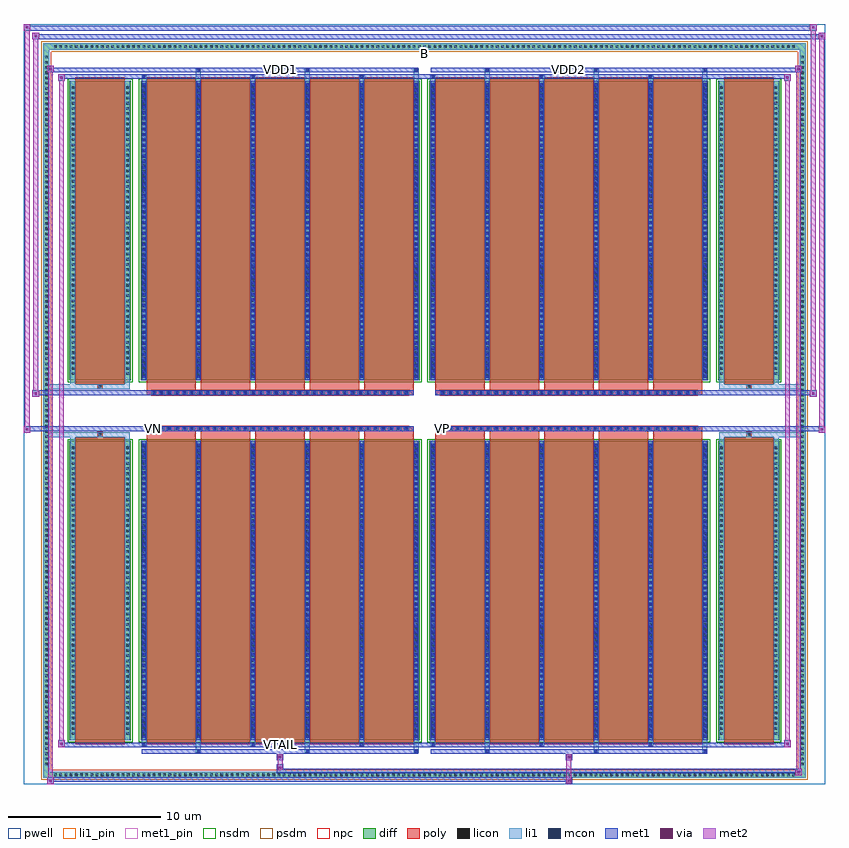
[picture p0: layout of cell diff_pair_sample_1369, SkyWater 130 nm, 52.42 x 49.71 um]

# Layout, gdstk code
import gdstk
lib = gdstk.Library(unit=1e-6, precision=5e-09)
def R(c, l, rs):  # rectangles x0, y0, x1, y1
    for r in rs: c.add(gdstk.rectangle(r[:2], r[2:], *l))
def A(c, l, x, y, w, h, nx, ny, dx, dy):  # array of equal rectangles
    R(c, l, [(x+i*dx, y+j*dy, x+i*dx+w, y+j*dy+h) for i in range(nx) for j in range(ny)])
def P(c, l, *ps):  # polygons
    for p in ps: c.add(gdstk.Polygon(p, *l))
pwell = (64, 44)
diff = (65, 20)
poly = (66, 20)
licon = (66, 44)
li1_pin = (67, 16)
li1 = (67, 20)
mcon = (67, 44)
met1_pin = (68, 16)
met1 = (68, 20)
via = (68, 44)
met2 = (69, 20)
nsdm = (93, 44)
psdm = (94, 20)
npc = (95, 20)

diff_pair_sample_1369 = lib.new_cell('diff_pair_sample_1369')
R(diff_pair_sample_1369, pwell, [(-26.21,-24.42,26.21,25.29), (-23.53,-22.61,-0.01,-0.805), (0.01,-22.61,23.53,-0.805), (-23.53,0.805,-0.01,22.61), (0.01,0.805,23.53,22.61)])
A(diff_pair_sample_1369, diff, -24.345, -24.02, 0.41, 0.41, 143, 2, 0.34, 47.63)
A(diff_pair_sample_1369, diff, -24.94, -23.325, 0.41, 0.41, 1, 137, 0, 0.34)
A(diff_pair_sample_1369, diff, 24.53, -23.325, 0.41, 0.41, 1, 137, 0, 0.34)
R(diff_pair_sample_1369, diff, [(-24.345,-24.02,24.345,-23.61), (-24.94,-23.325,-24.53,23.325), (24.53,-23.325,24.94,23.325), (-23.22,-21.565,-19.21,-1.985), (-18.57,-21.565,-0.32,-1.985), (0.32,-21.565,18.57,-1.985), (19.21,-21.565,23.22,-1.985), (-23.22,1.985,-19.21,21.565), (-18.57,1.985,-0.32,21.565), (0.32,1.985,18.57,21.565), (19.21,1.985,23.22,21.565), (-24.345,23.61,24.345,24.02)])
P(diff_pair_sample_1369, diff, [(24.94,24.02),(-24.94,24.02),(-24.94,-23.61),(-24.53,-23.61),(-24.53,23.61),(24.53,23.61),(24.53,-23.61),(-24.53,-23.61),(-24.94,-23.61),(-24.94,-24.02),(24.94,-24.02)])
A(diff_pair_sample_1369, poly, -18.18, -21.815, 3.23, 20.08, 5, 2, 3.56, 23.55)
A(diff_pair_sample_1369, poly, 0.71, -21.815, 3.23, 20.08, 5, 2, 3.56, 23.55)
A(diff_pair_sample_1369, poly, -18.18, -1.735, 3.23, 0.4, 5, 2, 3.56, 3.07)
A(diff_pair_sample_1369, poly, 0.71, -1.735, 3.23, 0.4, 5, 2, 3.56, 3.07)
A(diff_pair_sample_1369, poly, -17.86, -1.335, 0.33, 0.33, 34, 2, 0.5, 2.34)
A(diff_pair_sample_1369, poly, 1.03, -1.335, 0.33, 0.33, 34, 2, 0.5, 2.34)
R(diff_pair_sample_1369, poly, [(-22.83,-21.815,-19.6,-1.735), (19.6,-21.815,22.83,-1.735), (-21.38,-1.735,-21.05,-1.405), (-21.38,-1.735,-21.05,-1.405), (21.05,-1.735,21.38,-1.405), (21.05,-1.735,21.38,-1.405), (-18.18,-1.335,-0.71,-1.005), (0.71,-1.335,18.18,-1.005), (-18.18,1.005,-0.71,1.335), (0.71,1.005,18.18,1.335), (-21.38,1.405,-21.05,1.735), (-21.38,1.405,-21.05,1.735), (21.05,1.405,21.38,1.735), (21.05,1.405,21.38,1.735), (-22.83,1.735,-19.6,21.815), (19.6,1.735,22.83,21.815)])
A(diff_pair_sample_1369, licon, -24.225, -23.9, 0.17, 0.17, 143, 2, 0.34, 47.63)
A(diff_pair_sample_1369, licon, -24.82, -23.205, 0.17, 0.17, 1, 137, 0, 0.34)
A(diff_pair_sample_1369, licon, 24.65, -23.205, 0.17, 0.17, 1, 137, 0, 0.34)
A(diff_pair_sample_1369, licon, -23.08, -21.21, 0.17, 0.17, 1, 56, 0, 0.34)
A(diff_pair_sample_1369, licon, -19.52, -21.21, 0.17, 0.17, 1, 56, 0, 0.34)
A(diff_pair_sample_1369, licon, -18.43, -21.21, 0.17, 0.17, 6, 56, 3.56, 0.34)
A(diff_pair_sample_1369, licon, 0.46, -21.21, 0.17, 0.17, 6, 56, 3.56, 0.34)
A(diff_pair_sample_1369, licon, 19.35, -21.21, 0.17, 0.17, 1, 56, 0, 0.34)
A(diff_pair_sample_1369, licon, 22.91, -21.21, 0.17, 0.17, 1, 56, 0, 0.34)
A(diff_pair_sample_1369, licon, -17.78, -1.255, 0.17, 0.17, 34, 2, 0.5, 2.34)
A(diff_pair_sample_1369, licon, 1.11, -1.255, 0.17, 0.17, 34, 2, 0.5, 2.34)
A(diff_pair_sample_1369, licon, -23.08, 2.34, 0.17, 0.17, 1, 56, 0, 0.34)
A(diff_pair_sample_1369, licon, -19.52, 2.34, 0.17, 0.17, 1, 56, 0, 0.34)
A(diff_pair_sample_1369, licon, -18.43, 2.34, 0.17, 0.17, 6, 56, 3.56, 0.34)
A(diff_pair_sample_1369, licon, 0.46, 2.34, 0.17, 0.17, 6, 56, 3.56, 0.34)
A(diff_pair_sample_1369, licon, 19.35, 2.34, 0.17, 0.17, 1, 56, 0, 0.34)
A(diff_pair_sample_1369, licon, 22.91, 2.34, 0.17, 0.17, 1, 56, 0, 0.34)
R(diff_pair_sample_1369, licon, [(-21.3,-1.655,-21.13,-1.485), (21.13,-1.655,21.3,-1.485), (-21.3,1.485,-21.13,1.655), (21.13,1.485,21.3,1.655)])
R(diff_pair_sample_1369, li1_pin, [(-0.25,23.11,0.25,23.61)])
A(diff_pair_sample_1369, li1, -24.305, -23.98, 0.33, 0.33, 143, 2, 0.34, 47.63)
A(diff_pair_sample_1369, li1, -24.9, -23.285, 0.33, 0.33, 1, 137, 0, 0.34)
A(diff_pair_sample_1369, li1, 24.57, -23.285, 0.33, 0.33, 1, 137, 0, 0.34)
A(diff_pair_sample_1369, li1, -14.95, -22.37, 0.33, 0.805, 3, 2, 7.12, 43.935)
A(diff_pair_sample_1369, li1, -14.87, -22.37, 0.17, 0.17, 3, 2, 7.12, 44.57)
A(diff_pair_sample_1369, li1, 3.94, -22.37, 0.33, 0.805, 3, 2, 7.12, 43.935)
A(diff_pair_sample_1369, li1, 4.02, -22.37, 0.17, 0.17, 3, 2, 7.12, 44.57)
A(diff_pair_sample_1369, li1, -18.51, -21.94, 0.33, 0.375, 3, 2, 7.12, 43.505)
A(diff_pair_sample_1369, li1, -18.43, -21.94, 0.17, 0.17, 3, 2, 7.12, 43.71)
A(diff_pair_sample_1369, li1, 0.38, -21.94, 0.33, 0.375, 3, 2, 7.12, 43.505)
A(diff_pair_sample_1369, li1, 0.46, -21.94, 0.17, 0.17, 3, 2, 7.12, 43.71)
A(diff_pair_sample_1369, li1, -18.51, -21.565, 0.33, 19.58, 6, 2, 3.56, 23.55)
A(diff_pair_sample_1369, li1, 0.38, -21.565, 0.33, 19.58, 6, 2, 3.56, 23.55)
A(diff_pair_sample_1369, li1, -18.43, -21.4, 0.17, 0.17, 6, 54, 3.56, 0.36)
A(diff_pair_sample_1369, li1, -18.43, -21.4, 0.17, 19.25, 6, 2, 3.56, 23.55)
A(diff_pair_sample_1369, li1, 0.46, -21.4, 0.17, 0.17, 6, 54, 3.56, 0.36)
A(diff_pair_sample_1369, li1, 0.46, -21.4, 0.17, 19.25, 6, 2, 3.56, 23.55)
A(diff_pair_sample_1369, li1, -23.16, -21.29, 0.33, 0.33, 1, 56, 0, 0.34)
A(diff_pair_sample_1369, li1, -19.6, -21.29, 0.33, 0.33, 1, 56, 0, 0.34)
A(diff_pair_sample_1369, li1, -18.51, -21.29, 0.33, 0.33, 6, 56, 3.56, 0.34)
A(diff_pair_sample_1369, li1, 0.38, -21.29, 0.33, 0.33, 6, 56, 3.56, 0.34)
A(diff_pair_sample_1369, li1, 19.27, -21.29, 0.33, 0.33, 1, 56, 0, 0.34)
A(diff_pair_sample_1369, li1, 22.83, -21.29, 0.33, 0.33, 1, 56, 0, 0.34)
A(diff_pair_sample_1369, li1, -17.86, -1.335, 0.33, 0.33, 34, 2, 0.5, 2.34)
A(diff_pair_sample_1369, li1, 1.03, -1.335, 0.33, 0.33, 34, 2, 0.5, 2.34)
A(diff_pair_sample_1369, li1, -18.43, 2.15, 0.17, 0.17, 6, 54, 3.56, 0.36)
A(diff_pair_sample_1369, li1, 0.46, 2.15, 0.17, 0.17, 6, 54, 3.56, 0.36)
A(diff_pair_sample_1369, li1, -23.16, 2.26, 0.33, 0.33, 1, 56, 0, 0.34)
A(diff_pair_sample_1369, li1, -19.6, 2.26, 0.33, 0.33, 1, 56, 0, 0.34)
A(diff_pair_sample_1369, li1, -18.51, 2.26, 0.33, 0.33, 6, 56, 3.56, 0.34)
A(diff_pair_sample_1369, li1, 0.38, 2.26, 0.33, 0.33, 6, 56, 3.56, 0.34)
A(diff_pair_sample_1369, li1, 19.27, 2.26, 0.33, 0.33, 1, 56, 0, 0.34)
A(diff_pair_sample_1369, li1, 22.83, 2.26, 0.33, 0.33, 1, 56, 0, 0.34)
R(diff_pair_sample_1369, li1, [(-24.94,-24.02,-24.53,-23.61), (-24.94,-24.02,-24.53,-23.61), (-24.53,-24.02,24.53,-23.61), (24.53,-24.02,24.94,-23.61), (24.53,-24.02,24.94,-23.61), (-24.94,-23.61,-24.53,23.61), (24.53,-23.61,24.94,23.61), (-23.16,-21.565,-22.83,-1.985), (-19.6,-21.565,-19.27,-1.985), (19.27,-21.565,19.6,-1.985), (22.83,-21.565,23.16,-1.985), (-23.16,-1.985,-22.83,-1.405), (-19.6,-1.985,-19.27,-1.405), (19.27,-1.985,19.6,-1.405), (22.83,-1.985,23.16,-1.405), (-24.94,-1.735,-21.38,-1.405), (-23.16,-1.735,-21.38,-1.405), (-21.38,-1.735,-21.05,-1.405), (-21.05,-1.735,-19.27,-1.405), (19.27,-1.735,21.05,-1.405), (21.05,-1.735,21.38,-1.405), (21.05,-1.735,24.94,-1.405), (21.38,-1.735,23.16,-1.405), (-24.94,1.405,-21.38,1.735), (-23.16,1.405,-21.38,1.735), (-23.16,1.405,-22.83,1.985), (-21.38,1.405,-21.05,1.735), (-21.05,1.405,-19.27,1.735), (-19.6,1.405,-19.27,1.985), (19.27,1.405,21.05,1.735), (19.27,1.405,19.6,1.985), (21.05,1.405,21.38,1.735), (21.05,1.405,24.94,1.735), (21.38,1.405,23.16,1.735), (22.83,1.405,23.16,1.985), (-23.16,1.985,-22.83,21.565), (-19.6,1.985,-19.27,21.565), (19.27,1.985,19.6,21.565), (22.83,1.985,23.16,21.565), (-24.94,23.61,-24.53,24.02), (-24.94,23.61,-24.53,24.02), (-24.53,23.61,24.53,24.02), (24.53,23.61,24.94,24.02), (24.53,23.61,24.94,24.02)])
A(diff_pair_sample_1369, mcon, -14.87, -22.37, 0.17, 0.17, 3, 2, 7.12, 44.57)
A(diff_pair_sample_1369, mcon, 4.02, -22.37, 0.17, 0.17, 3, 2, 7.12, 44.57)
A(diff_pair_sample_1369, mcon, -18.43, -21.94, 0.17, 0.17, 3, 2, 7.12, 43.71)
A(diff_pair_sample_1369, mcon, 0.46, -21.94, 0.17, 0.17, 3, 2, 7.12, 43.71)
A(diff_pair_sample_1369, mcon, -18.43, -21.4, 0.17, 0.17, 6, 54, 3.56, 0.36)
A(diff_pair_sample_1369, mcon, 0.46, -21.4, 0.17, 0.17, 6, 54, 3.56, 0.36)
A(diff_pair_sample_1369, mcon, -17.78, -1.255, 0.17, 0.17, 34, 2, 0.5, 2.34)
A(diff_pair_sample_1369, mcon, 1.11, -1.255, 0.17, 0.17, 34, 2, 0.5, 2.34)
A(diff_pair_sample_1369, mcon, -18.43, 2.15, 0.17, 0.17, 6, 54, 3.56, 0.36)
A(diff_pair_sample_1369, mcon, 0.46, 2.15, 0.17, 0.17, 6, 54, 3.56, 0.36)
R(diff_pair_sample_1369, met1_pin, [(-9.58,-21.98,-9.31,-21.71), (-17.83,-1.295,-17.56,-1.025), (1.06,-1.295,1.33,-1.025), (-9.58,22.16,-9.31,22.43), (9.31,22.16,9.58,22.43)])
A(diff_pair_sample_1369, met1, -14.93, -22.43, 0.29, 0.29, 3, 2, 7.12, 44.57)
A(diff_pair_sample_1369, met1, 3.96, -22.43, 0.29, 0.29, 3, 2, 7.12, 44.57)
A(diff_pair_sample_1369, met1, -18.49, -22, 0.29, 0.29, 3, 2, 7.12, 43.71)
A(diff_pair_sample_1369, met1, 0.4, -22, 0.29, 0.29, 3, 2, 7.12, 43.71)
A(diff_pair_sample_1369, met1, -18.49, -21.565, 0.29, 19.58, 6, 2, 3.56, 23.55)
A(diff_pair_sample_1369, met1, 0.4, -21.565, 0.29, 19.58, 6, 2, 3.56, 23.55)
A(diff_pair_sample_1369, met1, -18.49, -21.46, 0.29, 0.29, 6, 54, 3.56, 0.36)
A(diff_pair_sample_1369, met1, 0.4, -21.46, 0.29, 0.29, 6, 54, 3.56, 0.36)
A(diff_pair_sample_1369, met1, -17.84, -1.315, 0.29, 0.29, 34, 2, 0.5, 2.34)
A(diff_pair_sample_1369, met1, 1.05, -1.315, 0.29, 0.29, 34, 2, 0.5, 2.34)
A(diff_pair_sample_1369, met1, -18.49, 2.09, 0.29, 0.29, 6, 54, 3.56, 0.36)
A(diff_pair_sample_1369, met1, 0.4, 2.09, 0.29, 0.29, 6, 54, 3.56, 0.36)
R(diff_pair_sample_1369, met1, [(-24.67,-24.42,-24.24,-23.99), (9.23,-24.42,9.66,-23.99), (-24.67,-24.28,9.66,-23.99), (24.24,-23.85,24.67,-23.42), (-9.66,-23.71,24.67,-23.42), (-9.66,-23.57,-9.23,-23.14), (-9.66,-22.86,-9.23,-22.43), (9.23,-22.86,9.66,-22.43), (-18.49,-22.43,-0.4,-22.14), (0.4,-22.43,18.49,-22.14), (-23.96,-22,-23.53,-21.57), (-23.96,-22,-18.49,-21.71), (-18.49,-22,-0.4,-21.71), (-0.4,-22,0.4,-21.71), (0.4,-22,18.49,-21.71), (18.49,-22,23.96,-21.71), (23.53,-22,23.96,-21.57), (-26.21,-1.435,-25.78,-1.005), (25.78,-1.435,26.21,-1.005), (-26.21,-1.335,-0.71,-1.005), (-18.18,-1.335,-0.71,-1.005), (0.71,-1.335,18.18,-1.005), (0.71,-1.335,26.21,-1.005), (-25.64,0.905,-25.21,1.335), (25.21,0.905,25.64,1.335), (-25.64,1.005,-18.18,1.335), (-18.18,1.005,-0.71,1.335), (0.71,1.005,18.18,1.335), (18.18,1.005,25.64,1.335), (-23.96,21.57,-23.53,22), (23.53,21.57,23.96,22), (-23.96,21.71,-18.49,22), (-18.49,21.71,-0.4,22), (-0.4,21.71,0.4,22), (0.4,21.71,18.49,22), (18.49,21.71,23.96,22), (-24.67,22.14,-24.24,22.57), (-24.67,22.14,-18.49,22.43), (-18.49,22.14,-0.4,22.43), (0.4,22.14,18.49,22.43), (18.49,22.14,24.67,22.43), (24.24,22.14,24.67,22.57), (-25.64,24.29,-25.21,24.72), (-25.64,24.29,-23.53,24.62), (-23.53,24.29,23.53,24.62), (23.53,24.29,26.21,24.62), (25.78,24.29,26.21,24.72), (-26.21,24.86,-25.78,25.29), (-26.21,24.86,-23.53,25.19), (-23.53,24.86,23.53,25.19), (23.53,24.86,25.64,25.19), (25.21,24.86,25.64,25.29)])
R(diff_pair_sample_1369, via, [(-24.53,-24.28,-24.38,-24.13), (9.37,-24.28,9.52,-24.13), (24.38,-23.71,24.53,-23.56), (-9.52,-23.43,-9.37,-23.28), (-9.52,-22.72,-9.37,-22.57), (9.37,-22.72,9.52,-22.57), (-23.82,-21.86,-23.67,-21.71), (23.67,-21.86,23.82,-21.71), (-26.07,-1.295,-25.92,-1.145), (25.92,-1.295,26.07,-1.145), (-25.5,1.045,-25.35,1.195), (25.35,1.045,25.5,1.195), (-23.82,21.71,-23.67,21.86), (23.67,21.71,23.82,21.86), (-24.53,22.28,-24.38,22.43), (24.38,22.28,24.53,22.43), (-25.5,24.43,-25.35,24.58), (25.92,24.43,26.07,24.58), (-26.07,25,-25.92,25.15), (25.35,25,25.5,25.15)])
R(diff_pair_sample_1369, met2, [(-24.67,-24.42,-24.24,-23.99), (-24.6,-24.42,-24.31,22.57), (-24.31,-24.42,-24.24,-23.99), (-24.62,-24.37,-24.29,-24.04), (9.28,-24.37,9.61,-24.04), (9.28,-24.04,9.61,-22.81), (24.24,-23.85,24.67,-23.42), (24.31,-23.85,24.6,22.57), (24.6,-23.85,24.67,-23.42), (24.29,-23.8,24.62,-23.47), (-9.61,-23.52,-9.28,-23.19), (-9.61,-23.19,-9.28,-22.81), (-9.61,-22.81,-9.28,-22.48), (9.28,-22.81,9.61,-22.48), (-23.96,-22,-23.53,-21.57), (-23.89,-22,-23.6,22), (-23.6,-22,-23.53,-21.57), (23.53,-22,23.96,-21.57), (23.6,-22,23.89,22), (23.89,-22,23.96,-21.57), (-23.91,-21.95,-23.58,-21.62), (23.58,-21.95,23.91,-21.62), (-26.21,-1.435,-25.78,-1.005), (-26.16,-1.435,-25.83,25.29), (-25.83,-1.435,-25.78,-1.005), (25.78,-1.435,26.21,-1.005), (25.83,-1.435,26.16,24.72), (26.16,-1.435,26.21,-1.005), (-26.16,-1.385,-25.83,-1.055), (25.83,-1.385,26.16,-1.055), (-25.64,0.905,-25.21,1.335), (-25.59,0.905,-25.26,24.72), (-25.26,0.905,-25.21,1.335), (25.21,0.905,25.64,1.335), (25.26,0.905,25.59,25.29), (25.59,0.905,25.64,1.335), (-25.59,0.955,-25.26,1.285), (25.26,0.955,25.59,1.285), (-23.96,21.57,-23.53,22), (-23.6,21.57,-23.53,22), (23.53,21.57,23.96,22), (23.89,21.57,23.96,22), (-23.91,21.62,-23.58,21.95), (23.58,21.62,23.91,21.95), (-24.67,22.14,-24.24,22.57), (-24.31,22.14,-24.24,22.57), (24.24,22.14,24.67,22.57), (24.6,22.14,24.67,22.57), (-24.62,22.19,-24.29,22.52), (24.29,22.19,24.62,22.52), (-25.64,24.29,-25.21,24.72), (-25.26,24.29,-25.21,24.72), (25.78,24.29,26.21,24.72), (26.16,24.29,26.21,24.72), (-25.59,24.34,-25.26,24.67), (25.83,24.34,26.16,24.67), (-26.21,24.86,-25.78,25.29), (-25.83,24.86,-25.78,25.29), (25.21,24.86,25.64,25.29), (25.59,24.86,25.64,25.29), (-26.16,24.91,-25.83,25.24), (25.26,24.91,25.59,25.24)])
R(diff_pair_sample_1369, nsdm, [(-23.35,-21.695,-19.08,-1.855), (-18.7,-21.695,-0.19,-1.855), (0.19,-21.695,18.7,-1.855), (19.08,-21.695,23.35,-1.855), (-23.35,1.855,-19.08,21.695), (-18.7,1.855,-0.19,21.695), (0.19,1.855,18.7,21.695), (19.08,1.855,23.35,21.695)])
P(diff_pair_sample_1369, psdm, [(25.07,24.15),(-25.07,24.15),(-25.07,-23.48),(-24.4,-23.48),(-24.4,23.48),(24.4,23.48),(24.4,-23.48),(-24.4,-23.48),(-25.07,-23.48),(-25.07,-24.15),(25.07,-24.15)])
A(diff_pair_sample_1369, npc, -17.88, -1.355, 0.37, 0.37, 34, 2, 0.5, 2.34)
A(diff_pair_sample_1369, npc, 1.01, -1.355, 0.37, 0.37, 34, 2, 0.5, 2.34)
R(diff_pair_sample_1369, npc, [(-21.4,-1.755,-21.03,-1.385), (21.03,-1.755,21.4,-1.385), (-17.88,-1.355,-17.01,-0.985), (-17.88,-1.355,-17.01,-0.985), (-17.38,-1.355,-16.51,-0.985), (-17.38,-1.355,-16.51,-0.985), (-16.88,-1.355,-16.01,-0.985), (-16.88,-1.355,-16.01,-0.985), (-16.38,-1.355,-15.51,-0.985), (-16.38,-1.355,-15.51,-0.985), (-15.88,-1.355,-15.01,-0.985), (-15.88,-1.355,-15.01,-0.985), (-15.38,-1.355,-14.51,-0.985), (-15.38,-1.355,-14.51,-0.985), (-14.88,-1.355,-14.01,-0.985), (-14.88,-1.355,-14.01,-0.985), (-14.38,-1.355,-13.51,-0.985), (-14.38,-1.355,-13.51,-0.985), (-13.88,-1.355,-13.01,-0.985), (-13.88,-1.355,-13.01,-0.985), (-13.38,-1.355,-12.51,-0.985), (-13.38,-1.355,-12.51,-0.985), (-12.88,-1.355,-12.01,-0.985), (-12.88,-1.355,-12.01,-0.985), (-12.38,-1.355,-11.51,-0.985), (-12.38,-1.355,-11.51,-0.985), (-11.88,-1.355,-11.01,-0.985), (-11.88,-1.355,-11.01,-0.985), (-11.38,-1.355,-10.51,-0.985), (-11.38,-1.355,-10.51,-0.985), (-10.88,-1.355,-10.01,-0.985), (-10.88,-1.355,-10.01,-0.985), (-10.38,-1.355,-9.51,-0.985), (-10.38,-1.355,-9.51,-0.985), (-9.88,-1.355,-9.01,-0.985), (-9.88,-1.355,-9.01,-0.985), (-9.38,-1.355,-8.51,-0.985), (-9.38,-1.355,-8.51,-0.985), (-8.88,-1.355,-8.01,-0.985), (-8.88,-1.355,-8.01,-0.985), (-8.38,-1.355,-7.51,-0.985), (-8.38,-1.355,-7.51,-0.985), (-7.88,-1.355,-7.01,-0.985), (-7.88,-1.355,-7.01,-0.985), (-7.38,-1.355,-6.51,-0.985), (-7.38,-1.355,-6.51,-0.985), (-6.88,-1.355,-6.01,-0.985), (-6.88,-1.355,-6.01,-0.985), (-6.38,-1.355,-5.51,-0.985), (-6.38,-1.355,-5.51,-0.985), (-5.88,-1.355,-5.01,-0.985), (-5.88,-1.355,-5.01,-0.985), (-5.38,-1.355,-4.51,-0.985), (-5.38,-1.355,-4.51,-0.985), (-4.88,-1.355,-4.01,-0.985), (-4.88,-1.355,-4.01,-0.985), (-4.38,-1.355,-3.51,-0.985), (-4.38,-1.355,-3.51,-0.985), (-3.88,-1.355,-3.01,-0.985), (-3.88,-1.355,-3.01,-0.985), (-3.38,-1.355,-2.51,-0.985), (-3.38,-1.355,-2.51,-0.985), (-2.88,-1.355,-2.01,-0.985), (-2.88,-1.355,-2.01,-0.985), (-2.38,-1.355,-1.51,-0.985), (-2.38,-1.355,-1.51,-0.985), (-1.88,-1.355,-1.01,-0.985), (-1.88,-1.355,-1.01,-0.985), (1.01,-1.355,1.88,-0.985), (1.01,-1.355,1.88,-0.985), (1.51,-1.355,2.38,-0.985), (1.51,-1.355,2.38,-0.985), (2.01,-1.355,2.88,-0.985), (2.01,-1.355,2.88,-0.985), (2.51,-1.355,3.38,-0.985), (2.51,-1.355,3.38,-0.985), (3.01,-1.355,3.88,-0.985), (3.01,-1.355,3.88,-0.985), (3.51,-1.355,4.38,-0.985), (3.51,-1.355,4.38,-0.985), (4.01,-1.355,4.88,-0.985), (4.01,-1.355,4.88,-0.985), (4.51,-1.355,5.38,-0.985), (4.51,-1.355,5.38,-0.985), (5.01,-1.355,5.88,-0.985), (5.01,-1.355,5.88,-0.985), (5.51,-1.355,6.38,-0.985), (5.51,-1.355,6.38,-0.985), (6.01,-1.355,6.88,-0.985), (6.01,-1.355,6.88,-0.985), (6.51,-1.355,7.38,-0.985), (6.51,-1.355,7.38,-0.985), (7.01,-1.355,7.88,-0.985), (7.01,-1.355,7.88,-0.985), (7.51,-1.355,8.38,-0.985), (7.51,-1.355,8.38,-0.985), (8.01,-1.355,8.88,-0.985), (8.01,-1.355,8.88,-0.985), (8.51,-1.355,9.38,-0.985), (8.51,-1.355,9.38,-0.985), (9.01,-1.355,9.88,-0.985), (9.01,-1.355,9.88,-0.985), (9.51,-1.355,10.38,-0.985), (9.51,-1.355,10.38,-0.985), (10.01,-1.355,10.88,-0.985), (10.01,-1.355,10.88,-0.985), (10.51,-1.355,11.38,-0.985), (10.51,-1.355,11.38,-0.985), (11.01,-1.355,11.88,-0.985), (11.01,-1.355,11.88,-0.985), (11.51,-1.355,12.38,-0.985), (11.51,-1.355,12.38,-0.985), (12.01,-1.355,12.88,-0.985), (12.01,-1.355,12.88,-0.985), (12.51,-1.355,13.38,-0.985), (12.51,-1.355,13.38,-0.985), (13.01,-1.355,13.88,-0.985), (13.01,-1.355,13.88,-0.985), (13.51,-1.355,14.38,-0.985), (13.51,-1.355,14.38,-0.985), (14.01,-1.355,14.88,-0.985), (14.01,-1.355,14.88,-0.985), (14.51,-1.355,15.38,-0.985), (14.51,-1.355,15.38,-0.985), (15.01,-1.355,15.88,-0.985), (15.01,-1.355,15.88,-0.985), (15.51,-1.355,16.38,-0.985), (15.51,-1.355,16.38,-0.985), (16.01,-1.355,16.88,-0.985), (16.01,-1.355,16.88,-0.985), (16.51,-1.355,17.38,-0.985), (16.51,-1.355,17.38,-0.985), (17.01,-1.355,17.88,-0.985), (17.01,-1.355,17.88,-0.985), (-17.88,0.985,-17.01,1.355), (-17.88,0.985,-17.01,1.355), (-17.38,0.985,-16.51,1.355), (-17.38,0.985,-16.51,1.355), (-16.88,0.985,-16.01,1.355), (-16.88,0.985,-16.01,1.355), (-16.38,0.985,-15.51,1.355), (-16.38,0.985,-15.51,1.355), (-15.88,0.985,-15.01,1.355), (-15.88,0.985,-15.01,1.355), (-15.38,0.985,-14.51,1.355), (-15.38,0.985,-14.51,1.355), (-14.88,0.985,-14.01,1.355), (-14.88,0.985,-14.01,1.355), (-14.38,0.985,-13.51,1.355), (-14.38,0.985,-13.51,1.355), (-13.88,0.985,-13.01,1.355), (-13.88,0.985,-13.01,1.355), (-13.38,0.985,-12.51,1.355), (-13.38,0.985,-12.51,1.355), (-12.88,0.985,-12.01,1.355), (-12.88,0.985,-12.01,1.355), (-12.38,0.985,-11.51,1.355), (-12.38,0.985,-11.51,1.355), (-11.88,0.985,-11.01,1.355), (-11.88,0.985,-11.01,1.355), (-11.38,0.985,-10.51,1.355), (-11.38,0.985,-10.51,1.355), (-10.88,0.985,-10.01,1.355), (-10.88,0.985,-10.01,1.355), (-10.38,0.985,-9.51,1.355), (-10.38,0.985,-9.51,1.355), (-9.88,0.985,-9.01,1.355), (-9.88,0.985,-9.01,1.355), (-9.38,0.985,-8.51,1.355), (-9.38,0.985,-8.51,1.355), (-8.88,0.985,-8.01,1.355), (-8.88,0.985,-8.01,1.355), (-8.38,0.985,-7.51,1.355), (-8.38,0.985,-7.51,1.355), (-7.88,0.985,-7.01,1.355), (-7.88,0.985,-7.01,1.355), (-7.38,0.985,-6.51,1.355), (-7.38,0.985,-6.51,1.355), (-6.88,0.985,-6.01,1.355), (-6.88,0.985,-6.01,1.355), (-6.38,0.985,-5.51,1.355), (-6.38,0.985,-5.51,1.355), (-5.88,0.985,-5.01,1.355), (-5.88,0.985,-5.01,1.355), (-5.38,0.985,-4.51,1.355), (-5.38,0.985,-4.51,1.355), (-4.88,0.985,-4.01,1.355), (-4.88,0.985,-4.01,1.355), (-4.38,0.985,-3.51,1.355), (-4.38,0.985,-3.51,1.355), (-3.88,0.985,-3.01,1.355), (-3.88,0.985,-3.01,1.355), (-3.38,0.985,-2.51,1.355), (-3.38,0.985,-2.51,1.355), (-2.88,0.985,-2.01,1.355), (-2.88,0.985,-2.01,1.355), (-2.38,0.985,-1.51,1.355), (-2.38,0.985,-1.51,1.355), (-1.88,0.985,-1.01,1.355), (-1.88,0.985,-1.01,1.355), (1.01,0.985,1.88,1.355), (1.01,0.985,1.88,1.355), (1.51,0.985,2.38,1.355), (1.51,0.985,2.38,1.355), (2.01,0.985,2.88,1.355), (2.01,0.985,2.88,1.355), (2.51,0.985,3.38,1.355), (2.51,0.985,3.38,1.355), (3.01,0.985,3.88,1.355), (3.01,0.985,3.88,1.355), (3.51,0.985,4.38,1.355), (3.51,0.985,4.38,1.355), (4.01,0.985,4.88,1.355), (4.01,0.985,4.88,1.355), (4.51,0.985,5.38,1.355), (4.51,0.985,5.38,1.355), (5.01,0.985,5.88,1.355), (5.01,0.985,5.88,1.355), (5.51,0.985,6.38,1.355), (5.51,0.985,6.38,1.355), (6.01,0.985,6.88,1.355), (6.01,0.985,6.88,1.355), (6.51,0.985,7.38,1.355), (6.51,0.985,7.38,1.355), (7.01,0.985,7.88,1.355), (7.01,0.985,7.88,1.355), (7.51,0.985,8.38,1.355), (7.51,0.985,8.38,1.355), (8.01,0.985,8.88,1.355), (8.01,0.985,8.88,1.355), (8.51,0.985,9.38,1.355), (8.51,0.985,9.38,1.355), (9.01,0.985,9.88,1.355), (9.01,0.985,9.88,1.355), (9.51,0.985,10.38,1.355), (9.51,0.985,10.38,1.355), (10.01,0.985,10.88,1.355), (10.01,0.985,10.88,1.355), (10.51,0.985,11.38,1.355), (10.51,0.985,11.38,1.355), (11.01,0.985,11.88,1.355), (11.01,0.985,11.88,1.355), (11.51,0.985,12.38,1.355), (11.51,0.985,12.38,1.355), (12.01,0.985,12.88,1.355), (12.01,0.985,12.88,1.355), (12.51,0.985,13.38,1.355), (12.51,0.985,13.38,1.355), (13.01,0.985,13.88,1.355), (13.01,0.985,13.88,1.355), (13.51,0.985,14.38,1.355), (13.51,0.985,14.38,1.355), (14.01,0.985,14.88,1.355), (14.01,0.985,14.88,1.355), (14.51,0.985,15.38,1.355), (14.51,0.985,15.38,1.355), (15.01,0.985,15.88,1.355), (15.01,0.985,15.88,1.355), (15.51,0.985,16.38,1.355), (15.51,0.985,16.38,1.355), (16.01,0.985,16.88,1.355), (16.01,0.985,16.88,1.355), (16.51,0.985,17.38,1.355), (16.51,0.985,17.38,1.355), (17.01,0.985,17.88,1.355), (17.01,0.985,17.88,1.355), (-21.4,1.385,-21.03,1.755), (21.03,1.385,21.4,1.755)])
diff_pair_sample_1369.add(gdstk.Label('VTAIL', (-9.445,-21.845), layer=68, texttype=5))
diff_pair_sample_1369.add(gdstk.Label('VN', (-17.695,-1.16), layer=68, texttype=5))
diff_pair_sample_1369.add(gdstk.Label('VP', (1.195,-1.16), layer=68, texttype=5))
diff_pair_sample_1369.add(gdstk.Label('B', (0,23.36), layer=67, texttype=5))
diff_pair_sample_1369.add(gdstk.Label('VDD2', (9.445,22.295), layer=68, texttype=5))
diff_pair_sample_1369.add(gdstk.Label('VDD1', (-9.445,22.295), layer=68, texttype=5))

lib.write_gds('diff_pair_sample_1369.gds')
